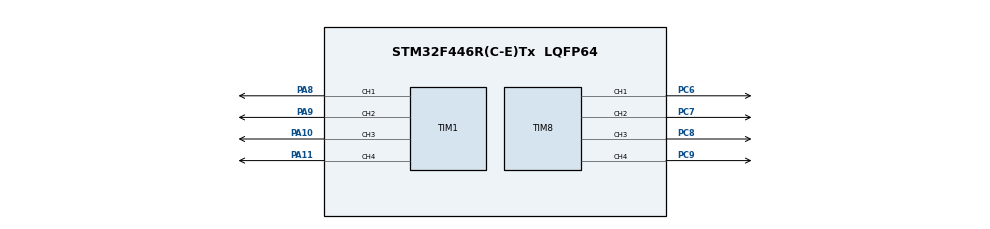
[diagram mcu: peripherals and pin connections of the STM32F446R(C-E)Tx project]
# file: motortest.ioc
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Mcu.Family=STM32F4
Mcu.Name=STM32F446R(C-E)Tx
Mcu.Package=LQFP64
NVIC.PriorityGroup=NVIC_PRIORITYGROUP_4
PA10.Signal=S_TIM1_CH3
PA11.Signal=S_TIM1_CH4
PA8.Signal=S_TIM1_CH1
PA9.Signal=S_TIM1_CH2
PC6.Signal=S_TIM8_CH1
PC7.Signal=S_TIM8_CH2
PC8.Signal=S_TIM8_CH3
PC9.Signal=S_TIM8_CH4
ProjectManager.HeapSize=0x200
ProjectManager.StackSize=0x400
ProjectManager.TargetToolchain=STM32CubeIDE
RCC.CortexFreq_Value=16000000
RCC.USBFreq_Value=96000000
RCC.VCOOutputFreq_Value=192000000
SH.S_TIM1_CH1.0=TIM1_CH1,PWM Generation1 CH1
SH.S_TIM1_CH2.0=TIM1_CH2,PWM Generation2 CH2
SH.S_TIM1_CH3.0=TIM1_CH3,PWM Generation3 CH3
SH.S_TIM1_CH4.0=TIM1_CH4,PWM Generation4 CH4
SH.S_TIM8_CH1.0=TIM8_CH1,PWM Generation1 CH1
SH.S_TIM8_CH2.0=TIM8_CH2,PWM Generation2 CH2
SH.S_TIM8_CH3.0=TIM8_CH3,PWM Generation3 CH3
SH.S_TIM8_CH4.0=TIM8_CH4,PWM Generation4 CH4
TIM1.Channel-PWM\ Generation1\ CH1=TIM_CHANNEL_1
TIM1.Channel-PWM\ Generation2\ CH2=TIM_CHANNEL_2
TIM1.Channel-PWM\ Generation3\ CH3=TIM_CHANNEL_3
TIM1.Channel-PWM\ Generation4\ CH4=TIM_CHANNEL_4
TIM8.Channel-PWM\ Generation1\ CH1=TIM_CHANNEL_1
TIM8.Channel-PWM\ Generation2\ CH2=TIM_CHANNEL_2
TIM8.Channel-PWM\ Generation3\ CH3=TIM_CHANNEL_3
TIM8.Channel-PWM\ Generation4\ CH4=TIM_CHANNEL_4
VP_TIM1_VS_ClockSourceINT.Mode=Internal
VP_TIM8_VS_ClockSourceINT.Mode=Internal
board=custom

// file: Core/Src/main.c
/* USER CODE BEGIN Header */
/**
  ******************************************************************************
  * @file           : main.c
  * @brief          : Main program body
  ******************************************************************************
  * @attention
  *
  * Copyright (c) 2026 STMicroelectronics.
  * All rights reserved.
  *
  * This software is licensed under terms that can be found in the LICENSE file
  * in the root directory of this software component.
  * If no LICENSE file comes with this software, it is provided AS-IS.
  *
  ******************************************************************************
  */
/* USER CODE END Header */
#include "main.h"

/* USER CODE BEGIN Includes */
#include "motor.h"
/* USER CODE END Includes */

TIM_HandleTypeDef htim1;
TIM_HandleTypeDef htim8;

/* USER CODE BEGIN PV */
Motor motor[4];
/* USER CODE END PV */

void SystemClock_Config(void);
static void MX_GPIO_Init(void);
static void MX_TIM1_Init(void);
static void MX_TIM8_Init(void);

int main(void)
{

  /* MCU Configuration--------------------------------------------------------*/

  /* Reset of all peripherals, Initializes the Flash interface and the Systick. */
  HAL_Init();

  /* Configure the system clock */
  SystemClock_Config();

  /* Initialize all configured peripherals */
  MX_GPIO_Init();
  MX_TIM1_Init();
  MX_TIM8_Init();
  /* USER CODE BEGIN 2 */
  Motor_Init(&motor[0], &htim1, TIM_CHANNEL_1, TIM_CHANNEL_2);
  Motor_Init(&motor[1], &htim1, TIM_CHANNEL_3, TIM_CHANNEL_4);
  Motor_Init(&motor[2], &htim8, TIM_CHANNEL_1, TIM_CHANNEL_2);
  Motor_Init(&motor[3], &htim8, TIM_CHANNEL_3, TIM_CHANNEL_4);

  Motor_Set(&motor[0], 500);
  HAL_Delay(2000);
  Motor_Stop(&motor[0]);
  /* USER CODE END 2 */

  /* Infinite loop */
  while (1)
  {

  }
}

void SystemClock_Config(void)
{
  RCC_OscInitTypeDef RCC_OscInitStruct = {0};
  RCC_ClkInitTypeDef RCC_ClkInitStruct = {0};

  /** Configure the main internal regulator output voltage
  */
  __HAL_RCC_PWR_CLK_ENABLE();
  __HAL_PWR_VOLTAGESCALING_CONFIG(PWR_REGULATOR_VOLTAGE_SCALE3);

  /** Initializes the RCC Oscillators according to the specified parameters
  * in the RCC_OscInitTypeDef structure.
  */
  RCC_OscInitStruct.OscillatorType = RCC_OSCILLATORTYPE_HSI;
  RCC_OscInitStruct.HSIState = RCC_HSI_ON;
  RCC_OscInitStruct.HSICalibrationValue = RCC_HSICALIBRATION_DEFAULT;
  RCC_OscInitStruct.PLL.PLLState = RCC_PLL_NONE;
  if (HAL_RCC_OscConfig(&RCC_OscInitStruct) != HAL_OK)
  {
    Error_Handler();
  }

  /** Initializes the CPU, AHB and APB buses clocks
  */
  RCC_ClkInitStruct.ClockType = RCC_CLOCKTYPE_HCLK|RCC_CLOCKTYPE_SYSCLK
                              |RCC_CLOCKTYPE_PCLK1|RCC_CLOCKTYPE_PCLK2;
  RCC_ClkInitStruct.SYSCLKSource = RCC_SYSCLKSOURCE_HSI;
  RCC_ClkInitStruct.AHBCLKDivider = RCC_SYSCLK_DIV1;
  RCC_ClkInitStruct.APB1CLKDivider = RCC_HCLK_DIV1;
  RCC_ClkInitStruct.APB2CLKDivider = RCC_HCLK_DIV1;

  if (HAL_RCC_ClockConfig(&RCC_ClkInitStruct, FLASH_LATENCY_0) != HAL_OK)
  {
    Error_Handler();
  }
}

static void MX_TIM1_Init(void)
{

  TIM_ClockConfigTypeDef sClockSourceConfig = {0};
  TIM_MasterConfigTypeDef sMasterConfig = {0};
  TIM_OC_InitTypeDef sConfigOC = {0};
  TIM_BreakDeadTimeConfigTypeDef sBreakDeadTimeConfig = {0};

  htim1.Instance = TIM1;
  htim1.Init.Prescaler = 0;
  htim1.Init.CounterMode = TIM_COUNTERMODE_UP;
  htim1.Init.Period = 65535;
  htim1.Init.ClockDivision = TIM_CLOCKDIVISION_DIV1;
  htim1.Init.RepetitionCounter = 0;
  htim1.Init.AutoReloadPreload = TIM_AUTORELOAD_PRELOAD_DISABLE;
  if (HAL_TIM_Base_Init(&htim1) != HAL_OK)
  {
    Error_Handler();
  }
  sClockSourceConfig.ClockSource = TIM_CLOCKSOURCE_INTERNAL;
  if (HAL_TIM_ConfigClockSource(&htim1, &sClockSourceConfig) != HAL_OK)
  {
    Error_Handler();
  }
  if (HAL_TIM_PWM_Init(&htim1) != HAL_OK)
  {
    Error_Handler();
  }
  sMasterConfig.MasterOutputTrigger = TIM_TRGO_RESET;
  sMasterConfig.MasterSlaveMode = TIM_MASTERSLAVEMODE_DISABLE;
  if (HAL_TIMEx_MasterConfigSynchronization(&htim1, &sMasterConfig) != HAL_OK)
  {
    Error_Handler();
  }
  sConfigOC.OCMode = TIM_OCMODE_PWM1;
  sConfigOC.Pulse = 0;
  sConfigOC.OCPolarity = TIM_OCPOLARITY_HIGH;
  sConfigOC.OCNPolarity = TIM_OCNPOLARITY_HIGH;
  sConfigOC.OCFastMode = TIM_OCFAST_DISABLE;
  sConfigOC.OCIdleState = TIM_OCIDLESTATE_RESET;
  sConfigOC.OCNIdleState = TIM_OCNIDLESTATE_RESET;
  if (HAL_TIM_PWM_ConfigChannel(&htim1, &sConfigOC, TIM_CHANNEL_1) != HAL_OK)
  {
    Error_Handler();
  }
  if (HAL_TIM_PWM_ConfigChannel(&htim1, &sConfigOC, TIM_CHANNEL_2) != HAL_OK)
  {
    Error_Handler();
  }
  if (HAL_TIM_PWM_ConfigChannel(&htim1, &sConfigOC, TIM_CHANNEL_3) != HAL_OK)
  {
    Error_Handler();
  }
  if (HAL_TIM_PWM_ConfigChannel(&htim1, &sConfigOC, TIM_CHANNEL_4) != HAL_OK)
  {
    Error_Handler();
  }
  sBreakDeadTimeConfig.OffStateRunMode = TIM_OSSR_DISABLE;
  sBreakDeadTimeConfig.OffStateIDLEMode = TIM_OSSI_DISABLE;
  sBreakDeadTimeConfig.LockLevel = TIM_LOCKLEVEL_OFF;
  sBreakDeadTimeConfig.DeadTime = 0;
  sBreakDeadTimeConfig.BreakState = TIM_BREAK_DISABLE;
  sBreakDeadTimeConfig.BreakPolarity = TIM_BREAKPOLARITY_HIGH;
  sBreakDeadTimeConfig.AutomaticOutput = TIM_AUTOMATICOUTPUT_DISABLE;
  if (HAL_TIMEx_ConfigBreakDeadTime(&htim1, &sBreakDeadTimeConfig) != HAL_OK)
  {
    Error_Handler();
  }
  /* USER CODE BEGIN TIM1_Init 2 */
  htim1.Init.Prescaler = 15;
  htim1.Init.Period    = 999;
  HAL_TIM_Base_Init(&htim1);  // 再初期化して反映
  /* USER CODE END TIM1_Init 2 */
  HAL_TIM_MspPostInit(&htim1);

}

static void MX_TIM8_Init(void)
{

  TIM_ClockConfigTypeDef sClockSourceConfig = {0};
  TIM_MasterConfigTypeDef sMasterConfig = {0};
  TIM_OC_InitTypeDef sConfigOC = {0};
  TIM_BreakDeadTimeConfigTypeDef sBreakDeadTimeConfig = {0};

  htim8.Instance = TIM8;
  htim8.Init.Prescaler = 0;
  htim8.Init.CounterMode = TIM_COUNTERMODE_UP;
  htim8.Init.Period = 65535;
  htim8.Init.ClockDivision = TIM_CLOCKDIVISION_DIV1;
  htim8.Init.RepetitionCounter = 0;
  htim8.Init.AutoReloadPreload = TIM_AUTORELOAD_PRELOAD_DISABLE;
  if (HAL_TIM_Base_Init(&htim8) != HAL_OK)
  {
    Error_Handler();
  }
  sClockSourceConfig.ClockSource = TIM_CLOCKSOURCE_INTERNAL;
  if (HAL_TIM_ConfigClockSource(&htim8, &sClockSourceConfig) != HAL_OK)
  {
    Error_Handler();
  }
  if (HAL_TIM_PWM_Init(&htim8) != HAL_OK)
  {
    Error_Handler();
  }
  sMasterConfig.MasterOutputTrigger = TIM_TRGO_RESET;
  sMasterConfig.MasterSlaveMode = TIM_MASTERSLAVEMODE_DISABLE;
  if (HAL_TIMEx_MasterConfigSynchronization(&htim8, &sMasterConfig) != HAL_OK)
  {
    Error_Handler();
  }
  sConfigOC.OCMode = TIM_OCMODE_PWM1;
  sConfigOC.Pulse = 0;
  sConfigOC.OCPolarity = TIM_OCPOLARITY_HIGH;
  sConfigOC.OCNPolarity = TIM_OCNPOLARITY_HIGH;
  sConfigOC.OCFastMode = TIM_OCFAST_DISABLE;
  sConfigOC.OCIdleState = TIM_OCIDLESTATE_RESET;
  sConfigOC.OCNIdleState = TIM_OCNIDLESTATE_RESET;
  if (HAL_TIM_PWM_ConfigChannel(&htim8, &sConfigOC, TIM_CHANNEL_1) != HAL_OK)
  {
    Error_Handler();
  }
  if (HAL_TIM_PWM_ConfigChannel(&htim8, &sConfigOC, TIM_CHANNEL_2) != HAL_OK)
  {
    Error_Handler();
  }
  if (HAL_TIM_PWM_ConfigChannel(&htim8, &sConfigOC, TIM_CHANNEL_3) != HAL_OK)
  {
    Error_Handler();
  }
  if (HAL_TIM_PWM_ConfigChannel(&htim8, &sConfigOC, TIM_CHANNEL_4) != HAL_OK)
  {
    Error_Handler();
  }
  sBreakDeadTimeConfig.OffStateRunMode = TIM_OSSR_DISABLE;
  sBreakDeadTimeConfig.OffStateIDLEMode = TIM_OSSI_DISABLE;
  sBreakDeadTimeConfig.LockLevel = TIM_LOCKLEVEL_OFF;
  sBreakDeadTimeConfig.DeadTime = 0;
  sBreakDeadTimeConfig.BreakState = TIM_BREAK_DISABLE;
  sBreakDeadTimeConfig.BreakPolarity = TIM_BREAKPOLARITY_HIGH;
  sBreakDeadTimeConfig.AutomaticOutput = TIM_AUTOMATICOUTPUT_DISABLE;
  if (HAL_TIMEx_ConfigBreakDeadTime(&htim8, &sBreakDeadTimeConfig) != HAL_OK)
  {
    Error_Handler();
  }
  /* USER CODE BEGIN TIM8_Init 2 */
  htim8.Init.Prescaler = 15;
  htim8.Init.Period    = 999;
  HAL_TIM_Base_Init(&htim8);
  /* USER CODE END TIM8_Init 2 */
  HAL_TIM_MspPostInit(&htim8);

}

static void MX_GPIO_Init(void)
{

  /* GPIO Ports Clock Enable */
  __HAL_RCC_GPIOC_CLK_ENABLE();
  __HAL_RCC_GPIOA_CLK_ENABLE();

}

void Error_Handler(void)
{
  __disable_irq();
  while (1)
  {
  }
}
